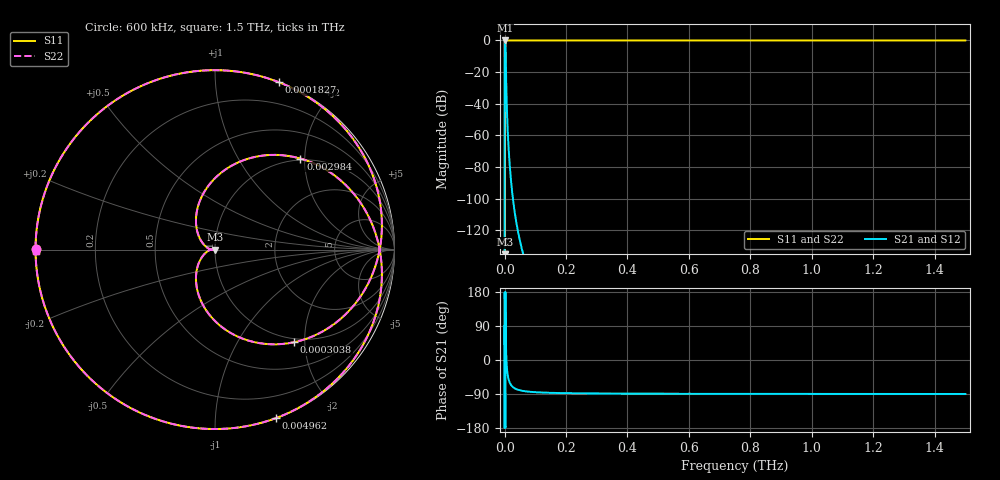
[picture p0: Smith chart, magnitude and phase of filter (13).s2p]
! rf-tools.com
! Date: Thu Jan 30 2020 11:38:37 GMT+0000 (格林尼治标准时间)
# Hz S DB R 50.00
!Frequency  S11 dB  S11 Deg  S21 dB  S21 Deg  S12 dB  S12 Deg  S22 dB  S22 Deg
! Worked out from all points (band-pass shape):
!   2000 points, 600 kHz to 1.5 THz, reference 50 ohm
!   highest |S21| = 0.00 dB at 827.8 MHz (marker M1); lowest = -198.9 dB at 3.416 MHz (marker M2)
!   |S21| within 3 dB of the highest: 300.1 MHz to 2.999 GHz (2.699 GHz wide, 164 % of centre)
!   lowest |S11| = -188.8 dB at 966.3 MHz (marker M3), VSWR 1.00, Z = 50 - j3.64e-08 ohm
!   |S11| at or under -10 dB: 356.6 MHz to 2.524 GHz (2.167 GHz wide, 150 % of centre)
!   |S22| runs from - to 0.0 dB; largest |S21 - S12| = 0
!   S11 on the Smith chart (normalised r, x): 600 kHz: -0.00, +0.00; 182.7 MHz: 0.00, +1.45; 303.8 MHz: 0.93, -1.79; 2.984 GHz: 0.97, +1.91; 4.962 GHz: 0.00, -1.43; 1.5 THz: -0.00, -0.00
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600000  -0.00 179.7  -274.47 89.7  -274.47 89.7  -0.00 179.7
3415748  -0.00 178.1  -198.94 88.1  -198.94 88.1  -0.00 178.1
7033018  0.00 176.1  -167.57 86.1  -167.57 86.1  0.00 176.1
4.994516e7  -0.00 152.1  -82.32 62.1  -82.32 62.1  -0.00 152.1
8.18336e7  -0.00 133.8  -60.67 43.8  -60.67 43.8  -0.00 133.8
1.827232e8  -0.02 69.1  -24.48 -20.9  -24.48 -20.9  -0.02 69.1
2.490105e8  -0.46 12.3  -10.02 -77.7  -10.02 -77.7  -0.46 12.3
3.038317e8  -3.36 -49.4  -2.69 -139.4  -2.69 -139.4  -3.36 -49.4
4.72789e8  -27.59 -167.6  -0.01 102.4  -0.01 102.4  -27.59 -167.6
8.277719e8  -101.73 107.8  -0.00 17.8  -0.00 17.8  -101.73 107.8
9.521854e8  -258.68 -90.5  -0.00 -0.5  -0.00 -0.5  -258.68 -90.5
9.663238e8  -188.78 -92.4  0.00 -2.4  0.00 -2.4  -188.78 -92.4
1.179066e9  -81.25 -118.6  -0.00 -28.6  -0.00 -28.6  -81.25 -118.6
1.848302e9  -29.74 173.0  -0.00 -97.0  -0.00 -97.0  -29.74 173.0
2.463741e9  -11.28 109.1  -0.34 -160.9  -0.34 -160.9  -11.28 109.1
2.984076e9  -3.15 46.9  -2.87 136.9  -2.87 136.9  -3.15 46.9
3.614305e9  -0.46 -12.3  -10.02 77.7  -10.02 77.7  -0.46 -12.3
4.961915e9  -0.01 -70.1  -24.83 19.9  -24.83 19.9  -0.01 -70.1
1.107928e10  -0.00 -134.1  -61.00 -44.1  -61.00 -44.1  -0.00 -134.1
1.801976e10  -0.00 -152.1  -82.32 -62.1  -82.32 -62.1  -0.00 -152.1
1.289144e11  -0.00 -176.1  -167.89 -86.1  -167.89 -86.1  -0.00 -176.1
1.5e12  -0.00 -179.7  -274.47 -89.7  -274.47 -89.7  -0.00 -179.7
